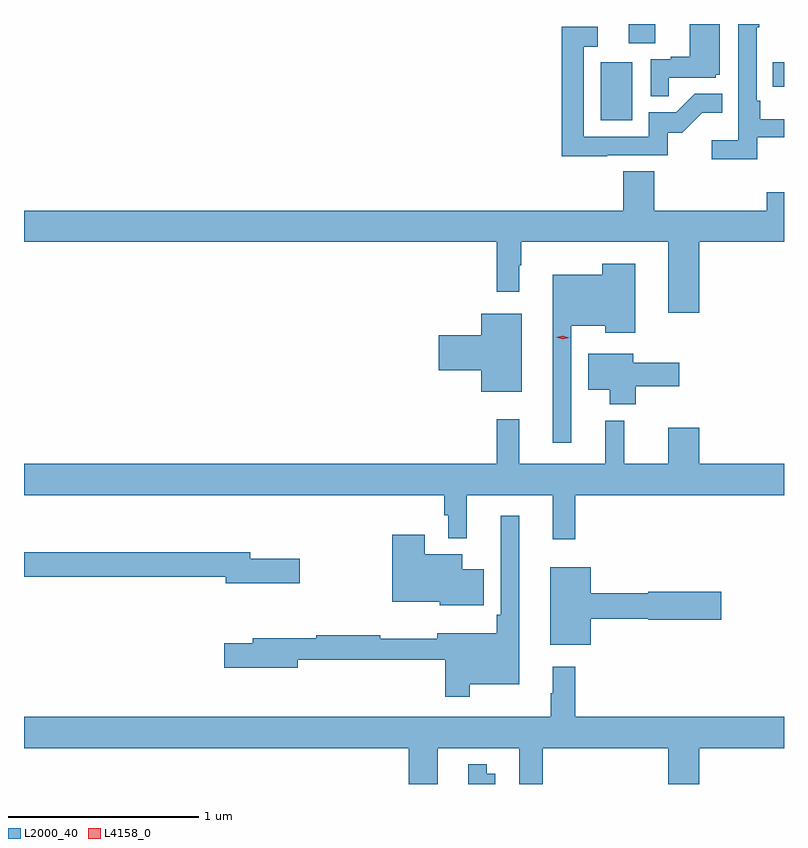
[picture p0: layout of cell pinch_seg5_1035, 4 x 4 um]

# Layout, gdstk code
import gdstk
lib = gdstk.Library(unit=1e-6, precision=1e-09)
def R(c, l, rs):  # rectangles x0, y0, x1, y1
    for r in rs: c.add(gdstk.rectangle(r[:2], r[2:], *l))
def P(c, l, *ps):  # polygons
    for p in ps: c.add(gdstk.Polygon(p, *l))
L2000_40 = (2000, 40)
L4158_0 = (4158, 0)

pinch_seg5_1035 = lib.new_cell('pinch_seg5_1035')
R(pinch_seg5_1035, L2000_40, [(847.97,861.396,848.134,861.703), (848.875,861.572,848.934,861.702), (848.117,861.802,848.257,861.903)])
P(pinch_seg5_1035, L2000_40, [(848.792,861.306),(848.934,861.306),(848.934,861.403),(848.81,861.403),(848.81,861.499),(848.79,861.499),(848.79,861.887),(848.803,861.887),(848.803,861.903),(848.694,861.903),(848.694,861.292),(848.553,861.292),(848.553,861.19),(848.792,861.19)],
  [(848.327,861.621),(848.574,861.621),(848.574,861.636),(848.596,861.636),(848.596,861.903),(848.438,861.903),(848.438,861.73),(848.339,861.73),(848.339,861.717),(848.232,861.717),(848.232,861.523),(848.327,861.523)],
  [(848.003,861.213),(848.322,861.213),(848.322,861.33),(848.398,861.33),(848.505,861.437),(848.609,861.437),(848.609,861.536),(848.465,861.536),(848.367,861.438),(848.223,861.438),(848.223,861.309),(847.881,861.309),(847.881,861.783),(847.954,861.783),(847.954,861.889),(847.765,861.889),(847.765,861.208),(848.003,861.208)],
  [(848.252,861.128),(848.087,861.128),(848.087,860.92),(844.934,860.92),(844.934,860.756),(847.423,860.756),(847.423,860.493),(847.54,860.493),(847.54,860.633),(847.552,860.633),(847.552,860.756),(848.324,860.756),(848.324,860.382),(848.488,860.382),(848.488,860.756),(848.934,860.756),(848.934,861.018),(848.843,861.018),(848.843,860.92),(848.252,860.92)],
  [(847.815,860.315),(847.994,860.315),(847.994,860.279),(848.152,860.279),(848.152,860.641),(847.977,860.641),(847.977,860.584),(847.718,860.584),(847.718,859.698),(847.815,859.698)],
  [(847.555,860.377),(847.34,860.377),(847.34,860.264),(847.116,860.264),(847.116,860.081),(847.34,860.081),(847.34,859.967),(847.555,859.967)],
  [(848.153,859.997),(848.383,859.997),(848.383,860.119),(848.14,860.119),(848.14,860.167),(847.904,860.167),(847.904,859.979),(848.018,859.979),(848.018,859.901),(848.153,859.901)],
  [(848.934,859.588),(848.488,859.588),(848.488,859.777),(848.324,859.777),(848.324,859.588),(848.094,859.588),(848.094,859.816),(847.994,859.816),(847.994,859.588),(847.541,859.588),(847.541,859.822),(847.423,859.822),(847.423,859.588),(844.934,859.588),(844.934,859.424),(847.147,859.424),(847.147,859.317),(847.167,859.317),(847.167,859.196),(847.265,859.196),(847.265,859.424),(847.718,859.424),(847.718,859.191),(847.835,859.191),(847.835,859.424),(848.934,859.424)],
  [(847.279,858.428),(847.54,858.428),(847.54,859.315),(847.443,859.315),(847.443,858.793),(847.423,858.793),(847.423,858.697),(847.11,858.697),(847.11,858.668),(846.81,858.668),(846.81,858.686),(846.472,858.686),(846.472,858.671),(846.137,858.671),(846.137,858.645),(845.988,858.645),(845.988,858.515),(846.376,858.515),(846.376,858.558),(847.15,858.558),(847.15,858.363),(847.279,858.363)],
  [(847.354,859.033),(847.24,859.033),(847.24,859.111),(847.042,859.111),(847.042,859.216),(846.872,859.216),(846.872,858.863),(847.122,858.863),(847.122,858.845),(847.354,858.845)],
  [(846.385,859.089),(846.124,859.089),(846.124,859.123),(844.934,859.123),(844.934,858.994),(845.996,858.994),(845.996,858.959),(846.385,858.959)],
  [(847.918,858.772),(848.22,858.772),(848.22,858.767),(848.605,858.767),(848.605,858.914),(848.22,858.914),(848.22,858.908),(847.918,858.908),(847.918,859.045),(847.703,859.045),(847.703,858.635),(847.918,858.635)],
  [(847.111,858.092),(847.541,858.092),(847.541,857.903),(847.664,857.903),(847.664,858.092),(848.324,858.092),(848.324,857.903),(848.488,857.903),(848.488,858.092),(848.934,858.092),(848.934,858.256),(847.835,858.256),(847.835,858.52),(847.718,858.52),(847.718,858.38),(847.707,858.38),(847.707,858.256),(844.934,858.256),(844.934,858.092),(846.959,858.092),(846.959,857.903),(847.111,857.903)],
  [(847.414,857.956),(847.369,857.956),(847.369,858.007),(847.272,858.007),(847.272,857.903),(847.414,857.903)])
P(pinch_seg5_1035, L4158_0, [(847.769,860.243),(847.734,860.254),(847.733,860.255),(847.734,860.255),(847.769,860.263),(847.805,860.252),(847.805,860.252),(847.805,860.251)])

lib.write_gds('pinch_seg5_1035.gds')
